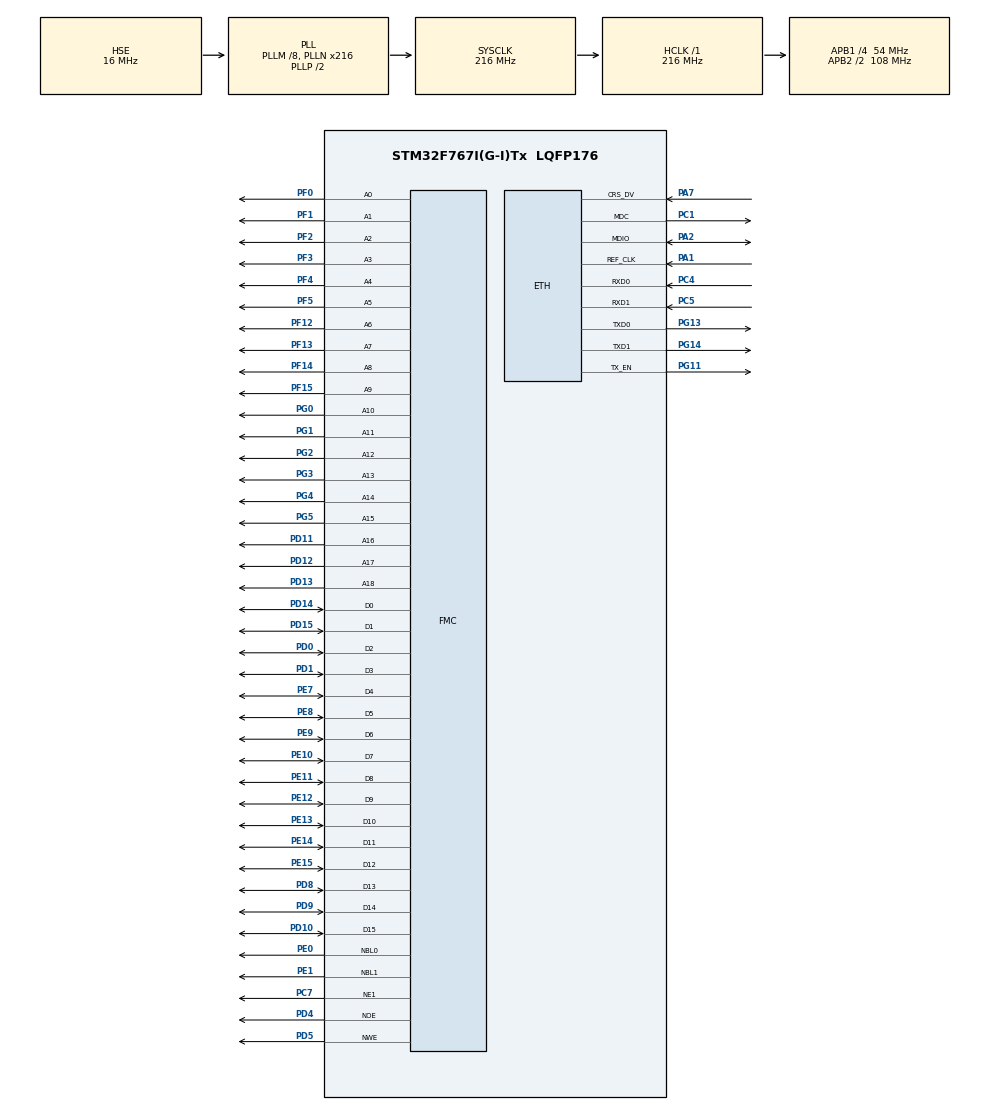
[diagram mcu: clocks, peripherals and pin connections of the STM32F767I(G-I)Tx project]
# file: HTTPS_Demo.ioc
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CORTEX_M7.ART_ACCLERATOR_ENABLE=1
CORTEX_M7.AccessPermission-Cortex_Memory_Protection_Unit_Region0_Settings=MPU_REGION_FULL_ACCESS
CORTEX_M7.AccessPermission-Cortex_Memory_Protection_Unit_Region1_Settings=MPU_REGION_FULL_ACCESS
CORTEX_M7.AccessPermission-Cortex_Memory_Protection_Unit_Region2_Settings=MPU_REGION_FULL_ACCESS
CORTEX_M7.AccessPermission-Cortex_Memory_Protection_Unit_Region3_Settings=MPU_REGION_FULL_ACCESS
CORTEX_M7.BaseAddress-Cortex_Memory_Protection_Unit_Region0_Settings=0x20000000
CORTEX_M7.BaseAddress-Cortex_Memory_Protection_Unit_Region1_Settings=0x20020000
CORTEX_M7.BaseAddress-Cortex_Memory_Protection_Unit_Region2_Settings=0x20060000
CORTEX_M7.BaseAddress-Cortex_Memory_Protection_Unit_Region3_Settings=0x60000000
CORTEX_M7.CPU_DCache=Enabled
CORTEX_M7.CPU_ICache=Enabled
CORTEX_M7.Enable-Cortex_Memory_Protection_Unit_Region0_Settings=MPU_REGION_ENABLE
CORTEX_M7.Enable-Cortex_Memory_Protection_Unit_Region1_Settings=MPU_REGION_ENABLE
CORTEX_M7.Enable-Cortex_Memory_Protection_Unit_Region2_Settings=MPU_REGION_ENABLE
CORTEX_M7.Enable-Cortex_Memory_Protection_Unit_Region3_Settings=MPU_REGION_ENABLE
CORTEX_M7.IsBufferable-Cortex_Memory_Protection_Unit_Region0_Settings=MPU_ACCESS_BUFFERABLE
CORTEX_M7.IsBufferable-Cortex_Memory_Protection_Unit_Region1_Settings=MPU_ACCESS_BUFFERABLE
CORTEX_M7.IsBufferable-Cortex_Memory_Protection_Unit_Region2_Settings=MPU_ACCESS_BUFFERABLE
CORTEX_M7.IsBufferable-Cortex_Memory_Protection_Unit_Region3_Settings=MPU_ACCESS_BUFFERABLE
CORTEX_M7.IsCacheable-Cortex_Memory_Protection_Unit_Region0_Settings=MPU_ACCESS_CACHEABLE
CORTEX_M7.IsCacheable-Cortex_Memory_Protection_Unit_Region1_Settings=MPU_ACCESS_CACHEABLE
CORTEX_M7.IsCacheable-Cortex_Memory_Protection_Unit_Region2_Settings=MPU_ACCESS_CACHEABLE
CORTEX_M7.IsCacheable-Cortex_Memory_Protection_Unit_Region3_Settings=MPU_ACCESS_CACHEABLE
CORTEX_M7.IsShareable-Cortex_Memory_Protection_Unit_Region0_Settings=MPU_ACCESS_SHAREABLE
CORTEX_M7.IsShareable-Cortex_Memory_Protection_Unit_Region1_Settings=MPU_ACCESS_SHAREABLE
CORTEX_M7.IsShareable-Cortex_Memory_Protection_Unit_Region2_Settings=MPU_ACCESS_SHAREABLE
CORTEX_M7.IsShareable-Cortex_Memory_Protection_Unit_Region3_Settings=MPU_ACCESS_SHAREABLE
CORTEX_M7.MPU_Control=MPU_HFNMI_PRIVDEF
CORTEX_M7.PREFETCH_ENABLE=1
CORTEX_M7.Size-Cortex_Memory_Protection_Unit_Region0_Settings=MPU_REGION_SIZE_128KB
CORTEX_M7.Size-Cortex_Memory_Protection_Unit_Region1_Settings=MPU_REGION_SIZE_256KB
CORTEX_M7.Size-Cortex_Memory_Protection_Unit_Region2_Settings=MPU_REGION_SIZE_128KB
CORTEX_M7.Size-Cortex_Memory_Protection_Unit_Region3_Settings=MPU_REGION_SIZE_1MB
ETH.MediaInterface=ETH_MEDIA_INTERFACE_RMII
ETH.PhyAddress=0
FREERTOS.Tasks01=defaultTask,0,128,StartDefaultTask,Default,NULL,Dynamic,NULL,NULL
LWIP.GATEWAY_ADDRESS=192.168.001.001
LWIP.IP_ADDRESS=192.168.001.196
LWIP.LWIP_DHCP=1
LWIP.LWIP_DNS=1
LWIP.LWIP_IPV6_FRAG=0
LWIP.LWIP_IPV6_SEND_ROUTER_SOLICIT=0
LWIP.LWIP_ND6_ALLOW_RA_UPDATES=0
LWIP.LWIP_ND6_TCP_REACHABILITY_HINTS=0
LWIP.LWIP_NETIF_EXT_STATUS_CALLBACK=1
LWIP.LWIP_NETIF_HOSTNAME=1
LWIP.LWIP_NETIF_LINK_CALLBACK=1
LWIP.LWIP_NETIF_STATUS_CALLBACK=1
LWIP.LWIP_SNTP=1
LWIP.NETMASK_ADDRESS=255.255.255.000
LWIP.SNTP_MAX_SERVERS=11
LWIP.Version=v2.1.2_Cube
Mcu.Family=STM32F7
Mcu.Name=STM32F767I(G-I)Tx
Mcu.Package=LQFP176
NVIC.ETH_IRQn=true\:5\:0\:false\:false\:true\:true\:true\:true
NVIC.PriorityGroup=NVIC_PRIORITYGROUP_4
NVIC.TIM1_UP_TIM10_IRQn=true\:0\:0\:false\:false\:true\:false\:false\:true
NVIC.TimeBase=TIM1_UP_TIM10_IRQn
NVIC.TimeBaseIP=TIM1
PA1.Mode=RMII
PA1.Signal=ETH_REF_CLK
PA13.Mode=Serial_Wire
PA13.Signal=SYS_JTMS-SWDIO
PA14.Mode=Serial_Wire
PA14.Signal=SYS_JTCK-SWCLK
PA2.Mode=RMII
PA2.Signal=ETH_MDIO
PA7.Mode=RMII
PA7.Signal=ETH_CRS_DV
PC1.Mode=RMII
PC1.Signal=ETH_MDC
PC14/OSC32_IN.Mode=LSE-External-Oscillator
PC14/OSC32_IN.Signal=RCC_OSC32_IN
PC15/OSC32_OUT.Mode=LSE-External-Oscillator
PC15/OSC32_OUT.Signal=RCC_OSC32_OUT
PC4.Mode=RMII
PC4.Signal=ETH_RXD0
PC5.Mode=RMII
PC5.Signal=ETH_RXD1
PC7.Mode=NorPsramChipSelect1_1
PC7.Signal=FMC_NE1
PD0.Signal=FMC_D2_DA2
PD1.Signal=FMC_D3_DA3
PD10.Signal=FMC_D15_DA15
PD11.Signal=FMC_A16_CLE
PD12.Signal=FMC_A17_ALE
PD13.Signal=FMC_A18
PD14.Signal=FMC_D0_DA0
PD15.Signal=FMC_D1_DA1
PD4.Signal=FMC_NOE
PD5.Signal=FMC_NWE
PD8.Signal=FMC_D13_DA13
PD9.Signal=FMC_D14_DA14
PE0.Signal=FMC_NBL0
PE1.Signal=FMC_NBL1
PE10.Signal=FMC_D7_DA7
PE11.Signal=FMC_D8_DA8
PE12.Signal=FMC_D9_DA9
PE13.Signal=FMC_D10_DA10
PE14.Signal=FMC_D11_DA11
PE15.Signal=FMC_D12_DA12
PE7.Signal=FMC_D4_DA4
PE8.Signal=FMC_D5_DA5
PE9.Signal=FMC_D6_DA6
PF0.Signal=FMC_A0
PF1.Signal=FMC_A1
PF12.Signal=FMC_A6
PF13.Signal=FMC_A7
PF14.Signal=FMC_A8
PF15.Signal=FMC_A9
PF2.Signal=FMC_A2
PF3.Signal=FMC_A3
PF4.Signal=FMC_A4
PF5.Signal=FMC_A5
PG0.Signal=FMC_A10
PG1.Signal=FMC_A11
PG11.Mode=RMII
PG11.Signal=ETH_TX_EN
PG13.Mode=RMII
PG13.Signal=ETH_TXD0
PG14.Mode=RMII
PG14.Signal=ETH_TXD1
PG2.Signal=FMC_A12
PG3.Signal=FMC_A13
PG4.Signal=FMC_A14_BA0
PG5.Signal=FMC_A15_BA1
PH0/OSC_IN.Mode=HSE-External-Oscillator
PH0/OSC_IN.Signal=RCC_OSC_IN
PH1/OSC_OUT.Mode=HSE-External-Oscillator
PH1/OSC_OUT.Signal=RCC_OSC_OUT
ProjectManager.HeapSize=0x1000
ProjectManager.StackSize=0x2000
ProjectManager.TargetToolchain=MDK-ARM V5.27
RCC.AHBFreq_Value=216000000
RCC.APB1CLKDivider=RCC_HCLK_DIV4
RCC.APB1Freq_Value=54000000
RCC.APB1TimFreq_Value=108000000
RCC.APB2CLKDivider=RCC_HCLK_DIV2
RCC.APB2Freq_Value=108000000
RCC.APB2TimFreq_Value=216000000
RCC.CortexFreq_Value=216000000
RCC.HCLKFreq_Value=216000000
RCC.HSE_VALUE=16000000
RCC.HSI_VALUE=16000000
RCC.PLLM=8
RCC.PLLN=216
RCC.PLLQ=9
RCC.PLLSourceVirtual=RCC_PLLSOURCE_HSE
RCC.RTCClockSelection=RCC_RTCCLKSOURCE_LSE
RCC.SDMMCClockSelection=RCC_SDMMC1CLKSOURCE_CLK48
RCC.SYSCLKFreq_VALUE=216000000
RCC.SYSCLKSource=RCC_SYSCLKSOURCE_PLLCLK
RCC.USBFreq_Value=48000000
RCC.VCOOutputFreq_Value=432000000
SH.FMC_A0.0=FMC_A0,19b-a1
SH.FMC_A1.0=FMC_A1,19b-a1
SH.FMC_A10.0=FMC_A10,19b-a1
SH.FMC_A11.0=FMC_A11,19b-a1
SH.FMC_A12.0=FMC_A12,19b-a1
SH.FMC_A13.0=FMC_A13,19b-a1
SH.FMC_A14_BA0.0=FMC_A14,19b-a1
SH.FMC_A15_BA1.0=FMC_A15,19b-a1
SH.FMC_A16_CLE.0=FMC_A16,19b-a1
SH.FMC_A17_ALE.0=FMC_A17,19b-a1
SH.FMC_A18.0=FMC_A18,19b-a1
SH.FMC_A2.0=FMC_A2,19b-a1
SH.FMC_A3.0=FMC_A3,19b-a1
SH.FMC_A4.0=FMC_A4,19b-a1
SH.FMC_A5.0=FMC_A5,19b-a1
SH.FMC_A6.0=FMC_A6,19b-a1
SH.FMC_A7.0=FMC_A7,19b-a1
SH.FMC_A8.0=FMC_A8,19b-a1
SH.FMC_A9.0=FMC_A9,19b-a1
SH.FMC_D0_DA0.0=FMC_D0,16b-d1
SH.FMC_D10_DA10.0=FMC_D10,16b-d1
SH.FMC_D11_DA11.0=FMC_D11,16b-d1
SH.FMC_D12_DA12.0=FMC_D12,16b-d1
SH.FMC_D13_DA13.0=FMC_D13,16b-d1
SH.FMC_D14_DA14.0=FMC_D14,16b-d1
SH.FMC_D15_DA15.0=FMC_D15,16b-d1
SH.FMC_D1_DA1.0=FMC_D1,16b-d1
SH.FMC_D2_DA2.0=FMC_D2,16b-d1
SH.FMC_D3_DA3.0=FMC_D3,16b-d1
SH.FMC_D4_DA4.0=FMC_D4,16b-d1
SH.FMC_D5_DA5.0=FMC_D5,16b-d1
SH.FMC_D6_DA6.0=FMC_D6,16b-d1
SH.FMC_D7_DA7.0=FMC_D7,16b-d1
SH.FMC_D8_DA8.0=FMC_D8,16b-d1
SH.FMC_D9_DA9.0=FMC_D9,16b-d1
SH.FMC_NBL0.0=FMC_NBL0,2ByteEnable1
SH.FMC_NBL1.0=FMC_NBL1,2ByteEnable1
SH.FMC_NOE.0=FMC_NOE,Sram1
SH.FMC_NWE.0=FMC_NWE,Sram1
VP_FREERTOS_VS_CMSIS_V1.Mode=CMSIS_V1
VP_LWIP_VS_Enabled.Mode=Enabled
VP_RNG_VS_RNG.Mode=RNG_Activate
VP_RTC_VS_RTC_Activate.Mode=RTC_Enabled
VP_SYS_VS_tim1.Mode=TIM1
board=custom

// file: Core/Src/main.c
/* USER CODE BEGIN Header */
/**
  ******************************************************************************
  * @file           : main.c
  * @brief          : Main program body
  ******************************************************************************
  * @attention
  *
  * <h2><center>&copy; Copyright (c) 2020 STMicroelectronics.
  * All rights reserved.</center></h2>
  *
  * This software component is licensed by ST under Ultimate Liberty license
  * SLA0044, the "License"; You may not use this file except in compliance with
  * the License. You may obtain a copy of the License at:
  *                             www.st.com/SLA0044
  *
  ******************************************************************************
  */
/* USER CODE END Header */

#include "main.h"
#include "cmsis_os.h"
#include "lwip.h"
#include "rng.h"
#include "rtc.h"
#include "gpio.h"
#include "fmc.h"

/* USER CODE BEGIN Includes */
#include "bsp_printlog.h"
/* USER CODE END Includes */

void SystemClock_Config(void);
static void MPU_Config(void);
void MX_FREERTOS_Init(void);

/* USER CODE BEGIN 0 */

//#define USING_SRAM //开启外部 SRAM
#ifdef USING_SRAM

/*!
 * @brief 外部SRAM测试函数
 * @param [in] none
 * @retval None
 */
static int Test_Exter_SRAM(void)
{
	#define EXTER_SRAM_ADDRESS (0x60000000)
	#define TEST_SIZE (1024)
	#define TEST_SIZE_BYTE (255)

	int* addr = (int*)EXTER_SRAM_ADDRESS;
	short* saddr = (short*)EXTER_SRAM_ADDRESS;
	char* caddr = (char*)EXTER_SRAM_ADDRESS;
	int int_test;
	short short_test;
	unsigned char char_test;

	//32b
	for (int_test = 0; int_test < TEST_SIZE; int_test++)
	{
		addr[int_test] = int_test;
	}
	for (int_test = 0; int_test < TEST_SIZE; int_test++)
	{
		if (addr[int_test] != int_test)
		{
			print_log("***************__TestExtSRAM failed!!\n");
			return -1;
		}
	}
	//16b
	for (short_test = 0; short_test < TEST_SIZE; short_test++)
	{
		saddr[short_test] = short_test;
	}
	for (short_test = 0; short_test < TEST_SIZE; short_test++)
	{
		if (saddr[short_test] != short_test)
		{
			print_log("***************__TestExtSRAM failed!!\n");
			return -2;
		}
	}
	//8b
	for (char_test = 0; char_test < TEST_SIZE_BYTE; char_test++)
	{
		caddr[char_test] = char_test;
	}
	for (char_test = 0; char_test < TEST_SIZE_BYTE; char_test++)
	{
		if (caddr[char_test] != char_test)
		{
			print_log("***************__TestExtSRAM failed!!\n");
			return -3;
		}
	}
	print_log("***************__TestExtSRAM OK!\n");

	//清空外部SRAM
	for (int_test = 0; int_test < TEST_SIZE; int_test++)
	{
		addr[int_test] = 0;
	}

	return 0;
}

#endif /* USING_SRAM */

/* USER CODE END 0 */

int main(void)
{
  /* USER CODE BEGIN 1 */
	segger_rtt_init("Demo start !!!");
  /* USER CODE END 1 */

  /* MPU Configuration--------------------------------------------------------*/
  MPU_Config();

  /* Enable I-Cache---------------------------------------------------------*/
  SCB_EnableICache();

  /* Enable D-Cache---------------------------------------------------------*/
  SCB_EnableDCache();

  /* MCU Configuration--------------------------------------------------------*/

  /* Reset of all peripherals, Initializes the Flash interface and the Systick. */
  HAL_Init();

  /* Configure the system clock */
  SystemClock_Config();

  /* Initialize all configured peripherals */
  MX_GPIO_Init();
#ifdef USING_SRAM
  MX_FMC_Init();
  Test_Exter_SRAM(); // 测试外部 SRAM
#endif /* USING_SRAM */
  MX_RTC_Init();
  MX_RNG_Init();

  /* Call init function for freertos objects (in freertos.c) */
  MX_FREERTOS_Init();
  /* Start scheduler */
  osKernelStart();

  /* We should never get here as control is now taken by the scheduler */
  /* Infinite loop */
  while (1)
  {

  }
}

void SystemClock_Config(void)
{
  RCC_OscInitTypeDef RCC_OscInitStruct = {0};
  RCC_ClkInitTypeDef RCC_ClkInitStruct = {0};
  RCC_PeriphCLKInitTypeDef PeriphClkInitStruct = {0};

  /** Configure LSE Drive Capability
  */
  HAL_PWR_EnableBkUpAccess();
  __HAL_RCC_LSEDRIVE_CONFIG(RCC_LSEDRIVE_LOW);
  /** Configure the main internal regulator output voltage
  */
  __HAL_RCC_PWR_CLK_ENABLE();
  __HAL_PWR_VOLTAGESCALING_CONFIG(PWR_REGULATOR_VOLTAGE_SCALE1);
  /** Initializes the CPU, AHB and APB busses clocks
  */
  RCC_OscInitStruct.OscillatorType = RCC_OSCILLATORTYPE_HSE|RCC_OSCILLATORTYPE_LSE;
  RCC_OscInitStruct.HSEState = RCC_HSE_ON;
  RCC_OscInitStruct.LSEState = RCC_LSE_ON;
  RCC_OscInitStruct.PLL.PLLState = RCC_PLL_ON;
  RCC_OscInitStruct.PLL.PLLSource = RCC_PLLSOURCE_HSE;
  RCC_OscInitStruct.PLL.PLLM = 8;
  RCC_OscInitStruct.PLL.PLLN = 216;
  RCC_OscInitStruct.PLL.PLLP = RCC_PLLP_DIV2;
  RCC_OscInitStruct.PLL.PLLQ = 9;
  if (HAL_RCC_OscConfig(&RCC_OscInitStruct) != HAL_OK)
  {
    Error_Handler();
  }
  /** Activate the Over-Drive mode
  */
  if (HAL_PWREx_EnableOverDrive() != HAL_OK)
  {
    Error_Handler();
  }
  /** Initializes the CPU, AHB and APB busses clocks
  */
  RCC_ClkInitStruct.ClockType = RCC_CLOCKTYPE_HCLK|RCC_CLOCKTYPE_SYSCLK
                              |RCC_CLOCKTYPE_PCLK1|RCC_CLOCKTYPE_PCLK2;
  RCC_ClkInitStruct.SYSCLKSource = RCC_SYSCLKSOURCE_PLLCLK;
  RCC_ClkInitStruct.AHBCLKDivider = RCC_SYSCLK_DIV1;
  RCC_ClkInitStruct.APB1CLKDivider = RCC_HCLK_DIV4;
  RCC_ClkInitStruct.APB2CLKDivider = RCC_HCLK_DIV2;

  if (HAL_RCC_ClockConfig(&RCC_ClkInitStruct, FLASH_LATENCY_7) != HAL_OK)
  {
    Error_Handler();
  }
  PeriphClkInitStruct.PeriphClockSelection = RCC_PERIPHCLK_RTC|RCC_PERIPHCLK_CLK48;
  PeriphClkInitStruct.RTCClockSelection = RCC_RTCCLKSOURCE_LSE;
  PeriphClkInitStruct.Clk48ClockSelection = RCC_CLK48SOURCE_PLL;
  if (HAL_RCCEx_PeriphCLKConfig(&PeriphClkInitStruct) != HAL_OK)
  {
    Error_Handler();
  }
}

/* MPU Configuration */

void MPU_Config(void)
{
  MPU_Region_InitTypeDef MPU_InitStruct = {0};

  /* Disables the MPU */
  HAL_MPU_Disable();
  /** Initializes and configures the Region and the memory to be protected
  */
  MPU_InitStruct.Enable = MPU_REGION_ENABLE;
  MPU_InitStruct.Number = MPU_REGION_NUMBER0;
  MPU_InitStruct.BaseAddress = 0x20000000;
  MPU_InitStruct.Size = MPU_REGION_SIZE_128KB;
  MPU_InitStruct.SubRegionDisable = 0x0;
  MPU_InitStruct.TypeExtField = MPU_TEX_LEVEL0;
  MPU_InitStruct.AccessPermission = MPU_REGION_FULL_ACCESS;
  MPU_InitStruct.DisableExec = MPU_INSTRUCTION_ACCESS_ENABLE;
  MPU_InitStruct.IsShareable = MPU_ACCESS_SHAREABLE;
  MPU_InitStruct.IsCacheable = MPU_ACCESS_CACHEABLE;
  MPU_InitStruct.IsBufferable = MPU_ACCESS_BUFFERABLE;

  HAL_MPU_ConfigRegion(&MPU_InitStruct);
  /** Initializes and configures the Region and the memory to be protected
  */
  MPU_InitStruct.Enable = MPU_REGION_ENABLE;
  MPU_InitStruct.Number = MPU_REGION_NUMBER1;
  MPU_InitStruct.BaseAddress = 0x20020000;
  MPU_InitStruct.Size = MPU_REGION_SIZE_256KB;
  MPU_InitStruct.SubRegionDisable = 0x0;
  MPU_InitStruct.TypeExtField = MPU_TEX_LEVEL0;
  MPU_InitStruct.AccessPermission = MPU_REGION_FULL_ACCESS;
  MPU_InitStruct.DisableExec = MPU_INSTRUCTION_ACCESS_ENABLE;
  MPU_InitStruct.IsShareable = MPU_ACCESS_SHAREABLE;
  MPU_InitStruct.IsCacheable = MPU_ACCESS_CACHEABLE;
  MPU_InitStruct.IsBufferable = MPU_ACCESS_BUFFERABLE;

  HAL_MPU_ConfigRegion(&MPU_InitStruct);
  /** Initializes and configures the Region and the memory to be protected
  */
  MPU_InitStruct.Enable = MPU_REGION_ENABLE;
  MPU_InitStruct.Number = MPU_REGION_NUMBER2;
  MPU_InitStruct.BaseAddress = 0x20060000;
  MPU_InitStruct.Size = MPU_REGION_SIZE_128KB;
  MPU_InitStruct.SubRegionDisable = 0x0;
  MPU_InitStruct.TypeExtField = MPU_TEX_LEVEL0;
  MPU_InitStruct.AccessPermission = MPU_REGION_FULL_ACCESS;
  MPU_InitStruct.DisableExec = MPU_INSTRUCTION_ACCESS_ENABLE;
  MPU_InitStruct.IsShareable = MPU_ACCESS_SHAREABLE;
  MPU_InitStruct.IsCacheable = MPU_ACCESS_CACHEABLE;
  MPU_InitStruct.IsBufferable = MPU_ACCESS_BUFFERABLE;

  HAL_MPU_ConfigRegion(&MPU_InitStruct);
  /** Initializes and configures the Region and the memory to be protected
  */
#ifdef USING_SRAM
  MPU_InitStruct.Enable = MPU_REGION_ENABLE;
  MPU_InitStruct.Number = MPU_REGION_NUMBER3;
  MPU_InitStruct.BaseAddress = 0x60000000;
  MPU_InitStruct.Size = MPU_REGION_SIZE_1MB;
  MPU_InitStruct.SubRegionDisable = 0x0;
  MPU_InitStruct.TypeExtField = MPU_TEX_LEVEL0;
  MPU_InitStruct.AccessPermission = MPU_REGION_FULL_ACCESS;
  MPU_InitStruct.DisableExec = MPU_INSTRUCTION_ACCESS_ENABLE;
  MPU_InitStruct.IsShareable = MPU_ACCESS_SHAREABLE;
  MPU_InitStruct.IsCacheable = MPU_ACCESS_CACHEABLE;
  MPU_InitStruct.IsBufferable = MPU_ACCESS_BUFFERABLE;

  HAL_MPU_ConfigRegion(&MPU_InitStruct);
#endif /* USING_SRAM */
  /* Enables the MPU */
  HAL_MPU_Enable(MPU_HFNMI_PRIVDEF);

}
void HAL_TIM_PeriodElapsedCallback(TIM_HandleTypeDef *htim)
{
  if (htim->Instance == TIM1) {
    HAL_IncTick();
  }
}

void Error_Handler(void)
{
  /* USER CODE BEGIN Error_Handler_Debug */
  /* User can add his own implementation to report the HAL error return state */
	print_log("Error_Handler!!!@@@@@@\r\n");
	print_log("Error_Handler!!!@@@@@@\r\n");
	print_log("Error_Handler!!!@@@@@@\r\n");

  /* USER CODE END Error_Handler_Debug */
}

#ifdef  USE_FULL_ASSERT
/**
  * @brief  Reports the name of the source file and the source line number
  *         where the assert_param error has occurred.
  * @param  file: pointer to the source file name
  * @param  line: assert_param error line source number
  * @retval None
  */
void assert_failed(uint8_t *file, uint32_t line)
{
  /* USER CODE BEGIN 6 */
  /* User can add his own implementation to report the file name and line number,
     tex: printf("Wrong parameters value: file %s on line %d\r\n", file, line) */
     print_log("Wrong parameters value: file %s on line %d\r\n", file, line);
  /* USER CODE END 6 */
}
#endif /* USE_FULL_ASSERT */

/************************ (C) COPYRIGHT STMicroelectronics *****END OF FILE****/

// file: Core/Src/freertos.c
/* USER CODE BEGIN Header */
/**
  ******************************************************************************
  * File Name          : freertos.c
  * Description        : Code for freertos applications
  ******************************************************************************
  * @attention
  *
  * <h2><center>&copy; Copyright (c) 2020 STMicroelectronics.
  * All rights reserved.</center></h2>
  *
  * This software component is licensed by ST under Ultimate Liberty license
  * SLA0044, the "License"; You may not use this file except in compliance with
  * the License. You may obtain a copy of the License at:
  *                             www.st.com/SLA0044
  *
  ******************************************************************************
  */
/* USER CODE END Header */

#include "FreeRTOS.h"
#include "task.h"
#include "main.h"
#include "cmsis_os.h"

/* USER CODE BEGIN Includes */

/* bsp includes. */
#include "bsp_wolfssl.h"
#include "bsp_printlog.h"
#include "bsp_sntp.h"
#include "bsp_dhcp.h"

/* USER CODE END Includes */

/* USER CODE BEGIN Variables */
osThreadId httpsDemoTaskHandle;
/* USER CODE END Variables */
osThreadId defaultTaskHandle;

/* USER CODE BEGIN FunctionPrototypes */
void test_https_task(void const * argument);
/* USER CODE END FunctionPrototypes */

void StartDefaultTask(void const * argument);

extern void MX_LWIP_Init(void);
void MX_FREERTOS_Init(void); /* (MISRA C 2004 rule 8.1) */

/* GetIdleTaskMemory prototype (linked to static allocation support) */
void vApplicationGetIdleTaskMemory( StaticTask_t **ppxIdleTaskTCBBuffer, StackType_t **ppxIdleTaskStackBuffer, uint32_t *pulIdleTaskStackSize );

/* USER CODE BEGIN GET_IDLE_TASK_MEMORY */
static StaticTask_t xIdleTaskTCBBuffer;
static StackType_t xIdleStack[configMINIMAL_STACK_SIZE];

void vApplicationGetIdleTaskMemory( StaticTask_t **ppxIdleTaskTCBBuffer, StackType_t **ppxIdleTaskStackBuffer, uint32_t *pulIdleTaskStackSize )
{
  *ppxIdleTaskTCBBuffer = &xIdleTaskTCBBuffer;
  *ppxIdleTaskStackBuffer = &xIdleStack[0];
  *pulIdleTaskStackSize = configMINIMAL_STACK_SIZE;
  /* place for user code */
}
/* USER CODE END GET_IDLE_TASK_MEMORY */

void MX_FREERTOS_Init(void) {

  /* Create the thread(s) */
  /* definition and creation of defaultTask */
  osThreadDef(defaultTask, StartDefaultTask, osPriorityNormal, 0, configMINIMAL_STACK_SIZE);
  defaultTaskHandle = osThreadCreate(osThread(defaultTask), NULL);

  /* USER CODE BEGIN RTOS_THREADS */
  /* add threads, ... */
#if 1
  osThreadDef(https_demo, test_https_task, osPriorityAboveNormal, 0, configMINIMAL_STACK_SIZE*6);
  httpsDemoTaskHandle = osThreadCreate(osThread(https_demo), NULL);
#endif
  /* USER CODE END RTOS_THREADS */

}

void StartDefaultTask(void const * argument)
{
  /* init code for LWIP */
  MX_LWIP_Init();
  /* USER CODE BEGIN StartDefaultTask */
	while(bsp_dhcp() != 0)
	{
		//正在尝试 dhcp 获取 IP
		;
	}
//
//	bsp_sntp_init();
  /* Infinite loop */
  for(;;)
  {
    osDelay(1);
  }
  /* USER CODE END StartDefaultTask */
}

/* USER CODE BEGIN Application */
void test_https_task(void const * argument)
{
  test_https();

  /* Infinite loop */
  for(;;)
  {
    osDelay(1);
  }
}
/* USER CODE END Application */

/************************ (C) COPYRIGHT STMicroelectronics *****END OF FILE****/
